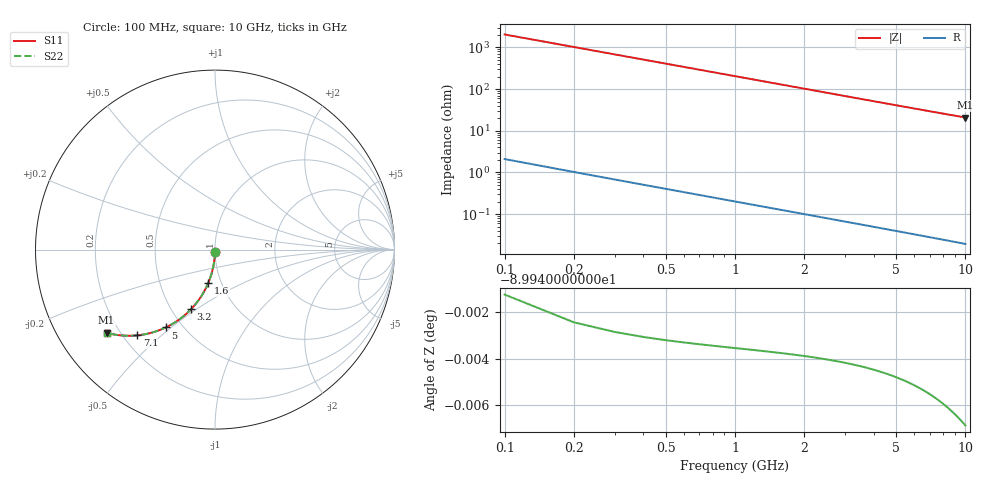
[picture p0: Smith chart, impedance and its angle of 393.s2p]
# Hz S RI R 50.00
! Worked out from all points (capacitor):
!   100 points, 100 MHz to 10 GHz, reference 50 ohm
!   read as one part in shunt: C = 779 fF near 100 MHz
!   lowest |Z| = 20.8 ohm at 10 GHz (marker M1)
!   S11 on the Smith chart (normalised r, x): 100 MHz: 1.00, -0.02; 1.6 GHz: 0.87, -0.33; 3.2 GHz: 0.63, -0.48; 5 GHz: 0.41, -0.48; 7.1 GHz: 0.26, -0.42; 10 GHz: 0.15, -0.33
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1e8  -0.000119 -0.012  0.9998 -0.0125  0.9998 -0.0125  -0.000119 -0.012
2e8  -0.000579 -0.024  0.9993 -0.0249  0.9993 -0.0249  -0.000579 -0.024
3e8  -0.00134 -0.0359  0.9986 -0.0374  0.9986 -0.0374  -0.00134 -0.0359
4e8  -0.00239 -0.0479  0.9975 -0.0498  0.9975 -0.0498  -0.00239 -0.0479
5e8  -0.00374 -0.0597  0.9962 -0.0621  0.9962 -0.0621  -0.00374 -0.0597
6e8  -0.00538 -0.0716  0.9945 -0.0744  0.9945 -0.0744  -0.00538 -0.0716
7e8  -0.00732 -0.0833  0.9926 -0.0867  0.9926 -0.0867  -0.00732 -0.0833
9e8  -0.012 -0.1066  0.9879 -0.1109  0.9879 -0.1109  -0.012 -0.1066
1.2e9  -0.0212 -0.1408  0.9787 -0.1465  0.9787 -0.1465  -0.0212 -0.1408
1.6e9  -0.037 -0.1847  0.9628 -0.1923  0.9628 -0.1923  -0.037 -0.1847
1.8e9  -0.0464 -0.2058  0.9534 -0.2143  0.9534 -0.2143  -0.0464 -0.2058
2.4e9  -0.0797 -0.2647  0.9202 -0.2761  0.9202 -0.2761  -0.0797 -0.2647
3.2e9  -0.1334 -0.332  0.8663 -0.3473  0.8663 -0.3473  -0.1334 -0.332
3.4e9  -0.1481 -0.3467  0.8516 -0.363  0.8516 -0.363  -0.1481 -0.3467
4.2e9  -0.2099 -0.3967  0.7898 -0.417  0.7898 -0.417  -0.2099 -0.3967
5e9  -0.2738 -0.4334  0.7258 -0.4576  0.7258 -0.4576  -0.2738 -0.4334
5.1e9  -0.2818 -0.4371  0.7178 -0.4618  0.7178 -0.4618  -0.2818 -0.4371
5.9e9  -0.3447 -0.4605  0.6548 -0.4892  0.6548 -0.4892  -0.3447 -0.4605
6.7e9  -0.4046 -0.474  0.5948 -0.5067  0.5948 -0.5067  -0.4046 -0.474
7.1e9  -0.433 -0.4777  0.5663 -0.5124  0.5663 -0.5124  -0.433 -0.4777
8.4e9  -0.5175 -0.4785  0.4815 -0.5198  0.4815 -0.5198  -0.5175 -0.4785
1e10  -0.6043 -0.4635  0.3944 -0.5132  0.3944 -0.5132  -0.6043 -0.4635
